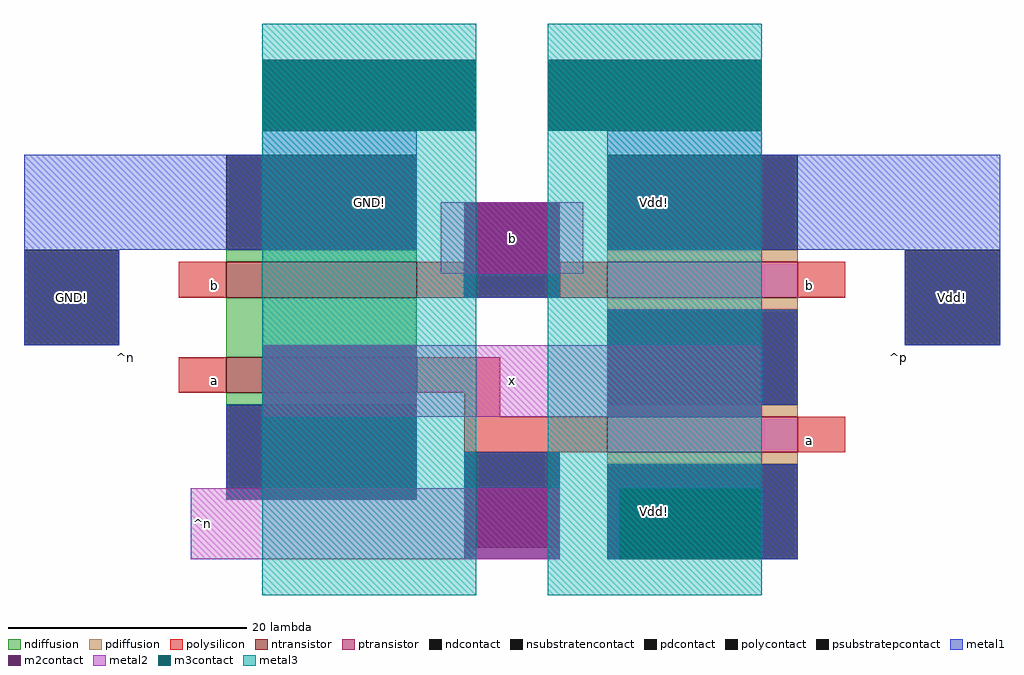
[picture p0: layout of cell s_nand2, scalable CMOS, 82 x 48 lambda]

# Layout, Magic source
magic
tech scmos
<< ndiffusion >>
rect -24 564 -8 565
rect -24 556 -8 561
rect -24 552 -8 553
<< pdiffusion >>
rect 8 564 24 565
rect 8 560 24 561
rect 8 551 24 552
rect 8 547 24 548
<< ntransistor >>
rect -24 561 -8 564
rect -24 553 -8 556
<< ptransistor >>
rect 8 561 24 564
rect 8 548 24 551
<< polysilicon >>
rect -28 561 -24 564
rect -8 561 -4 564
rect 4 561 8 564
rect 24 561 28 564
rect -28 553 -24 556
rect -8 553 -1 556
rect -4 551 -1 553
rect -4 548 8 551
rect 24 548 28 551
<< ndcontact >>
rect -24 565 -8 573
rect -24 544 -8 552
<< pdcontact >>
rect 8 565 24 573
rect 8 552 24 560
rect 8 539 24 547
<< psubstratepcontact >>
rect -41 557 -33 565
<< nsubstratencontact >>
rect 33 557 41 565
<< polycontact >>
rect -4 561 4 569
rect -4 540 4 548
<< metal1 >>
rect -21 573 -8 575
rect -41 565 -8 573
rect 8 573 21 575
rect -41 557 -33 565
rect 8 565 41 573
rect -4 561 4 563
rect 8 557 24 560
rect 33 557 41 565
rect -24 551 -21 552
rect 21 552 24 557
rect -24 544 -8 551
rect -4 545 4 548
rect 8 545 24 547
rect 8 539 9 545
rect 21 539 24 545
<< m2contact >>
rect -21 575 -3 581
rect 3 575 21 581
rect -4 563 4 569
rect -21 551 -8 557
rect 8 551 21 557
rect -4 539 4 545
rect 9 539 21 545
<< metal2 >>
rect -6 563 6 569
rect -21 551 21 557
rect -27 539 4 545
<< m3contact >>
rect -21 575 -3 581
rect 3 575 21 581
rect 9 539 21 545
<< metal3 >>
rect -21 536 -3 584
rect 3 536 21 584
<< labels >>
rlabel metal1 12 569 12 569 5 Vdd!
rlabel m2contact 12 543 12 543 1 Vdd!
rlabel polysilicon 25 562 25 562 1 b
rlabel polysilicon 25 549 25 549 1 a
rlabel metal1 -12 569 -12 569 5 GND!
rlabel polysilicon -25 562 -25 562 3 b
rlabel polysilicon -25 554 -25 554 3 a
rlabel metal2 0 566 0 566 1 b
rlabel metal2 -27 539 -25 545 3 ^n
rlabel metal2 -26 542 -26 542 3 a
rlabel metal2 0 551 0 557 1 x
rlabel metal1 -37 561 -37 561 3 GND!
rlabel space -42 538 -23 574 7 ^n
rlabel metal1 37 561 37 561 7 Vdd!
rlabel space 23 538 42 574 3 ^p
<< end >>
